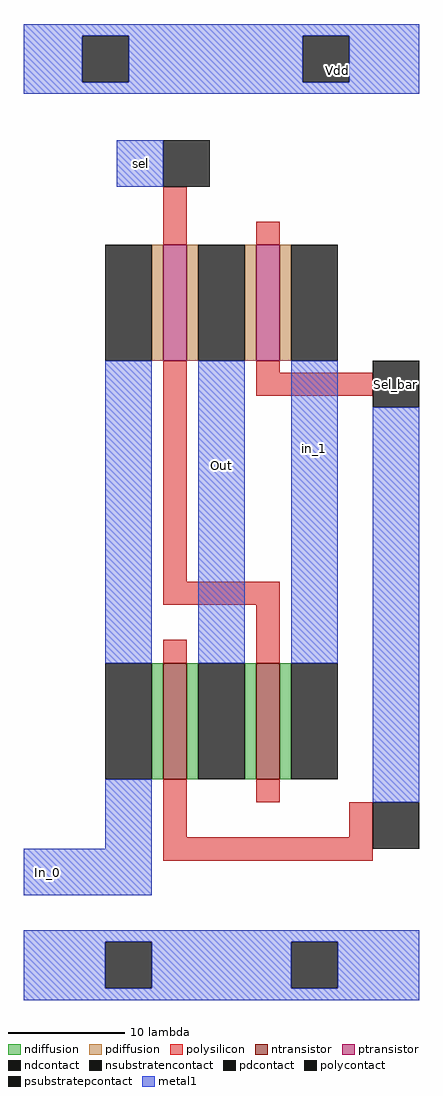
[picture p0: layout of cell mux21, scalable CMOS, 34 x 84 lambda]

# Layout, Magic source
magic
tech scmos
<< ntransistor >>
rect -18 -18 -16 -8
rect -10 -18 -8 -8
<< ptransistor >>
rect -18 18 -16 28
rect -10 18 -8 28
<< ndiffusion >>
rect -19 -18 -18 -8
rect -16 -18 -15 -8
rect -11 -18 -10 -8
rect -8 -18 -7 -8
<< pdiffusion >>
rect -19 18 -18 28
rect -16 18 -15 28
rect -11 18 -10 28
rect -8 18 -7 28
<< ndcontact >>
rect -23 -18 -19 -8
rect -15 -18 -11 -8
rect -7 -18 -3 -8
<< pdcontact >>
rect -23 18 -19 28
rect -15 18 -11 28
rect -7 18 -3 28
<< psubstratepcontact >>
rect -23 -36 -19 -32
rect -7 -36 -3 -32
<< nsubstratencontact >>
rect -25 42 -21 46
rect -6 42 -2 46
<< polysilicon >>
rect -18 28 -16 33
rect -10 28 -8 30
rect -18 -1 -16 18
rect -10 17 -8 18
rect -10 15 0 17
rect -18 -3 -8 -1
rect -18 -8 -16 -6
rect -10 -8 -8 -3
rect -18 -23 -16 -18
rect -10 -20 -8 -18
rect -2 -23 0 -20
rect -18 -25 0 -23
<< polycontact >>
rect -18 33 -14 37
rect 0 14 4 18
rect 0 -24 4 -20
<< metal1 >>
rect -30 46 4 47
rect -30 42 -25 46
rect -21 42 -6 46
rect -2 42 4 46
rect -30 41 4 42
rect -22 33 -18 37
rect -23 -8 -19 18
rect -15 -8 -11 18
rect -7 -8 -3 18
rect -23 -24 -19 -18
rect 0 -20 4 14
rect -30 -28 -19 -24
rect -30 -32 4 -31
rect -30 -36 -23 -32
rect -19 -36 -7 -32
rect -3 -36 4 -32
rect -30 -37 4 -36
<< labels >>
rlabel nsubstratencontact -3 43 -3 43 3 Vdd
rlabel metal1 -28 -26 -28 -26 3 In_0
rlabel metal1 -5 10 -5 11 1 in_1
rlabel metal1 -13 9 -13 9 3 Out
rlabel polycontact 2 16 2 16 0 Sel_bar
rlabel metal1 -20 35 -20 35 1 sel
<< end >>
